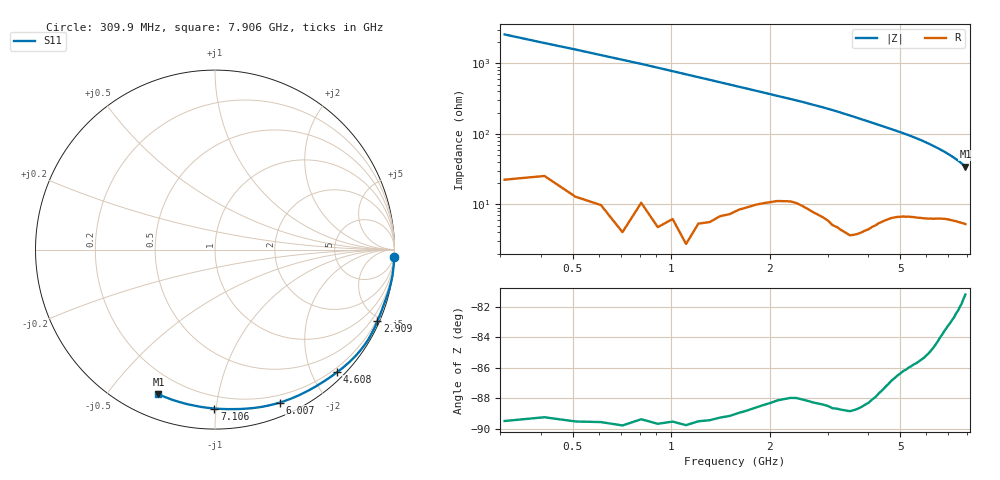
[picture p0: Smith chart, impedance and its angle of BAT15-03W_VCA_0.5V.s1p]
! Infineon Technologies  Discrete & RF Semiconductors
! BAT15-03W-E6327
! VCA = 0.5 V
! One-Port S-Parameters
# Hz  S  MA  R  50
!f  S11
!Hz  Mag  Ang
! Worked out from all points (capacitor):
!   77 points, 309.9 MHz to 7.906 GHz, reference 50 ohm
!   read as one part to ground: C = 200 fF near 309.9 MHz
!   lowest |Z| = 34.3 ohm at 7.906 GHz (marker M1)
!   S11 on the Smith chart (normalised r, x): 309.9 MHz: 0, -51; 2.909 GHz: 0.13, -4.74; 4.608 GHz: 0.12, -2.40; 6.007 GHz: 0.13, -1.50; 7.106 GHz: 0.12, -0.99; 7.906 GHz: 0.11, -0.68
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3.0985e8  0.9997 -2.2
9.0955e8  0.9994 -6.6
1.30935e9  0.9984 -9.8
1.70915e9  0.9953 -13.1
2.2089e9  0.99 -17.3
2.50875e9  0.9887 -19.9
2.90855e9  0.9889 -23.8
3.2084e9  0.9896 -27.0
3.50825e9  0.9899 -30.6
3.70815e9  0.9877 -33.1
4.10795e9  0.9794 -38.3
4.30785e9  0.9737 -41.0
4.6077e9  0.9642 -45.1
4.90755e9  0.9548 -49.2
5.10745e9  0.9491 -52.1
5.4073e9  0.9417 -56.7
5.6072e9  0.9368 -59.9
5.8071e9  0.9314 -63.4
6.007e9  0.9254 -67.0
6.30685e9  0.9151 -72.9
6.50675e9  0.907 -77.0
6.70665e9  0.8987 -81.2
7.0065e9  0.8882 -87.9
7.10645e9  0.8854 -90.2
7.30635e9  0.88 -95.1
7.50625e9  0.8748 -100.3
7.70615e9  0.8703 -105.7
7.90605e9  0.8658 -111.3
